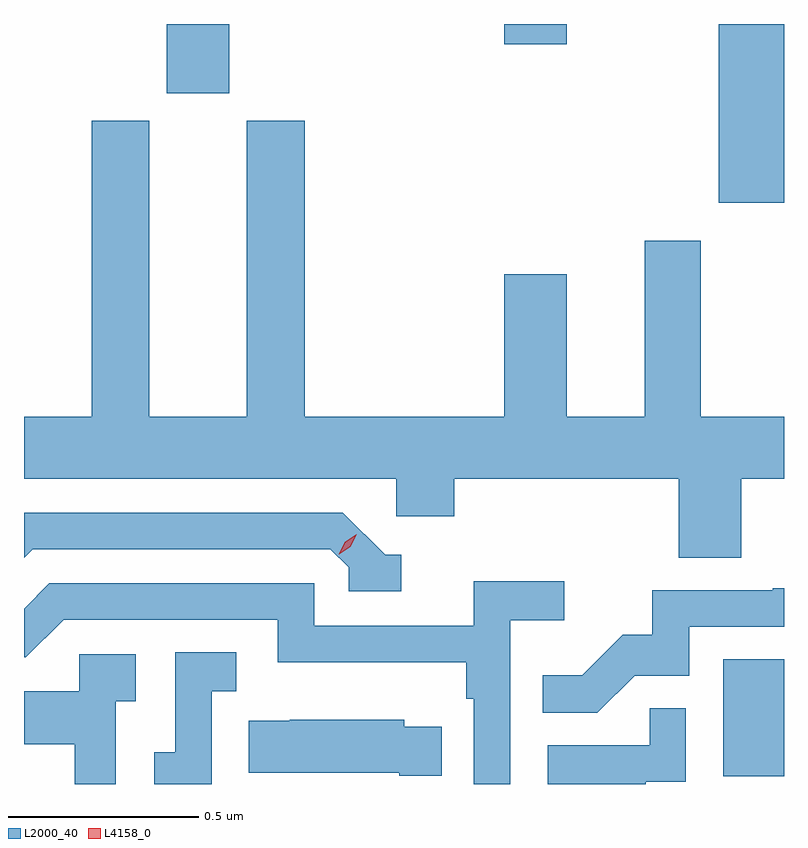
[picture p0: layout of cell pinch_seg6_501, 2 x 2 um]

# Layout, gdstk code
import gdstk
lib = gdstk.Library(unit=1e-6, precision=1e-09)
def R(c, l, rs):  # rectangles x0, y0, x1, y1
    for r in rs: c.add(gdstk.rectangle(r[:2], r[2:], *l))
def P(c, l, *ps):  # polygons
    for p in ps: c.add(gdstk.Polygon(p, *l))
L2000_40 = (2000, 40)
L4158_0 = (4158, 0)

pinch_seg6_501 = lib.new_cell('pinch_seg6_501')
R(pinch_seg6_501, L2000_40, [(860.888,923.91,861.048,924.217), (860.876,925.418,861.048,925.889), (859.424,925.707,859.588,925.889), (860.312,925.836,860.476,925.889)])
P(pinch_seg6_501, L2000_40, [(860.936,924.692),(861.048,924.692),(861.048,924.856),(860.829,924.856),(860.829,925.318),(860.681,925.318),(860.681,924.856),(860.476,924.856),(860.476,925.231),(860.312,925.231),(860.312,924.856),(859.787,924.856),(859.787,925.635),(859.634,925.635),(859.634,924.856),(859.378,924.856),(859.378,925.635),(859.226,925.635),(859.226,924.856),(859.048,924.856),(859.048,924.692),(860.028,924.692),(860.028,924.594),(860.18,924.594),(860.18,924.692),(860.771,924.692),(860.771,924.484),(860.936,924.484)],
  [(860.041,924.492),(859.998,924.492),(859.887,924.603),(859.048,924.603),(859.048,924.484),(859.071,924.507),(859.854,924.507),(859.902,924.459),(859.902,924.396),(860.041,924.396)],
  [(860.328,924.32),(860.47,924.32),(860.47,924.422),(860.231,924.422),(860.231,924.306),(859.812,924.306),(859.812,924.417),(859.115,924.417),(859.048,924.35),(859.048,924.222),(859.053,924.222),(859.152,924.321),(859.716,924.321),(859.716,924.209),(860.212,924.209),(860.212,924.113),(860.232,924.113),(860.232,923.889),(860.328,923.889)],
  [(860.655,924.174),(860.799,924.174),(860.799,924.303),(861.048,924.303),(861.048,924.404),(861.019,924.404),(861.019,924.399),(860.701,924.399),(860.701,924.282),(860.624,924.282),(860.517,924.175),(860.413,924.175),(860.413,924.076),(860.557,924.076)],
  [(859.542,924.133),(859.606,924.133),(859.606,924.236),(859.446,924.236),(859.446,923.973),(859.391,923.973),(859.391,923.889),(859.542,923.889)],
  [(859.29,924.107),(859.342,924.107),(859.342,924.231),(859.194,924.231),(859.194,924.133),(859.048,924.133),(859.048,923.993),(859.182,923.993),(859.182,923.889),(859.29,923.889)],
  [(860.684,923.895),(860.79,923.895),(860.79,924.089),(860.695,924.089),(860.695,923.991),(860.426,923.991),(860.426,923.889),(860.684,923.889)],
  [(860.147,924.04),(860.049,924.04),(860.049,924.058),(859.747,924.058),(859.747,924.055),(859.639,924.055),(859.639,923.918),(860.036,923.918),(860.036,923.911),(860.147,923.911)])
P(pinch_seg6_501, L4158_0, [(859.876,924.494),(859.876,924.494),(859.893,924.527),(859.923,924.546),(859.924,924.546),(859.924,924.546),(859.907,924.514),(859.877,924.494)])

lib.write_gds('pinch_seg6_501.gds')
